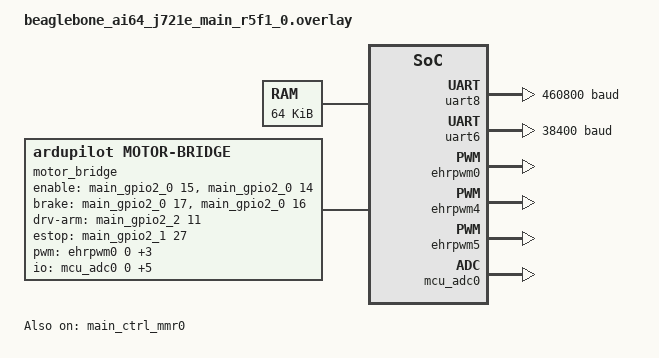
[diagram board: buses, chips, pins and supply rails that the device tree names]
#include <zephyr/dt-bindings/gpio/gpio.h>
#include <zephyr/dt-bindings/adc/adc.h>
#include <zephyr/dt-bindings/pwm/pwm.h>

/*
 * BeagleBone AI-64, ArduPilot on MAIN R5FSS1 core0 (Zephyr 'ai64' branch,
 * lockstep) beside Linux + TI vision_apps (rebuilt without mcu3).
 *
 * Memory: TI's vision-apps overlay maps main_r5fss1_core0 to 0xa6000000
 * (+16 MB): dma 0xa6000000 1 MB (vrings, ipc shm), memory 0xa6100000 15 MB.
 * The MPU is TI's table (SoC early boot); its non-cacheable 2 MB IPC window
 * starts at chosen zephyr,ipc_shm (ddr0) and covers ipc shm, the resource
 * table and the RAM console (= remoteproc trace0).
 * DRAM (code, data, malloc heap): 8 MB at 0xa6800000. Milestone 1 fits; a
 * bigger carveout replaces ddr1 once it is in the Linux overlay.
 *
 * Serial ports:
 *   SERIAL0 = MAVLink2 over the RPMsg "rpmsg-tty" endpoint (/dev/ttyRPMSGn on
 *             Linux, module rpmsg_tty)
 *   SERIAL1 = UART8, P8_28 RX / P8_29 TX: ExpressLRS receiver in MAVLink mode
 *             (RC in RADIO_RC_CHANNELS + telemetry), 460800 baud
 *   SERIAL3 = UART6, P9_14 RX / P9_16 TX: u-blox GPS (the driver autobauds)
 * UART8/UART6 interrupts reach this core through R5FSS1_INTROUTER0 (routed by
 * the SoC code from ti,sci-ir-route, Zephyr 'ai64' branch); 48 MHz fck, the
 * ns16550 TI K3 code picks 13x/16x per baud (460800: 13x, +0.16 %).
 *
 * NOT UART4 on P9_37/P9_38: P9_33 and P9_35..P9_40 are the analog inputs
 * (MCU_ADC0, a 1.8 V domain), each shorted on the header to a 3.3 V digital
 * ball. They are analog-only and must never be muxed to a digital function.
 */
/ {
	chosen {
		zephyr,ram-console = &ramcon;
	};

	aliases {
		ardupilot-serial1 = &uart8;
		ardupilot-serial3 = &uart6;
	};

	ramcon: memory@a6180000 {
		compatible = "zephyr,memory-region", "mmio-sram";
		reg = <0xa6180000 DT_SIZE_K(64)>;
		zephyr,memory-region = "RAMCON";
	};
};

&ddr0 {
	reg = <0xa6000000 DT_SIZE_M(1)>;
};

&rsc_table {
	reg = <0xa6100000 DT_SIZE_K(512)>;
};

&ddr1 {
	reg = <0xa6800000 DT_SIZE_M(8)>;
};

&uart8 {
	/* with the analog-only header pins held Hi-Z (see the note above) */
	pinctrl-0 = <&uart8_default &analog_pins_hiz>;
	pinctrl-names = "default";
	current-speed = <460800>;
	status = "okay";
};

&uart6 {
	pinctrl-0 = <&uart6_default>;
	pinctrl-names = "default";
	current-speed = <38400>;
	status = "okay";
};

/*
 * Motor bridge (2x BTS7960, prototype pin table wc-hardware docs/pin-allocation.md), CONFIG_AP_HAL_ZEPHYR_MOTOR_BRIDGE:
 *   PWM_L_FWD EHRPWM0_A P8_19, PWM_L_REV EHRPWM0_B P8_13, PWM_R_FWD EHRPWM4_B P9_25, PWM_R_REV EHRPWM5_A P8_37
 *   GPIO2 (pads of GPIO0_n, VGPIO_SEL = GPIO2): EN_L P8_07 (15), EN_R P8_08 (14), BRAKE_L P8_09 (17, high =
 *   released), BRAKE_R P8_10 (16), DRV_ARM P8_14 (75, square wave into the dead-man monostable), ESTOP_SENSE
 *   P8_12 (59, high = e-stop open)
 *   MCU_ADC0 (1.8 V at the ball, the header is halved): IS_L_FWD AIN0 P9_39, IS_L_REV AIN1 P9_40, IS_R_FWD AIN4
 *   P9_33, IS_R_REV AIN5 P9_36, VMOT_SENSE AIN2 P9_37, VBAT_SENSE AIN6 P9_35 (both for the over-voltage gate; VBAT also for the battery monitor, later)
 *   Current scale: 11.6 mV/A at the ball (IBT-2 with 10k IS resistors; 6.3 mV/A with 1k): to be calibrated.
 *   Bus scale: 56 V per volt at the ball.
 */
&main_ctrl_mmr0 { status = "okay"; };
&ehrpwm0 { pinctrl-0 = <&ehrpwm0_default>; pinctrl-names = "default"; status = "okay"; };
&ehrpwm4 { pinctrl-0 = <&ehrpwm4_default>; pinctrl-names = "default"; status = "okay"; };
&ehrpwm5 { pinctrl-0 = <&ehrpwm5_default>; pinctrl-names = "default"; status = "okay"; };
&main_gpio2_0 { pinctrl-0 = <&motor_gpio_default>; pinctrl-names = "default"; status = "okay"; };
&main_gpio2_1 { status = "okay"; };
&main_gpio2_2 { status = "okay"; };

#define AI64_ADC_CH(n) channel@n { reg = <n>; zephyr,gain = "ADC_GAIN_1"; zephyr,reference = "ADC_REF_INTERNAL"; \
	zephyr,acquisition-time = <ADC_ACQ_TIME_DEFAULT>; zephyr,resolution = <12>; }

&mcu_adc0 {
	status = "okay";
	AI64_ADC_CH(0);
	AI64_ADC_CH(1);
	AI64_ADC_CH(2);
	AI64_ADC_CH(4);
	AI64_ADC_CH(5);
	AI64_ADC_CH(6);
};

/ {
	motor_bridge: motor-bridge {
		compatible = "ardupilot,motor-bridge";
		pwms = <&ehrpwm0 0 PWM_USEC(50) PWM_POLARITY_NORMAL>, <&ehrpwm0 1 PWM_USEC(50) PWM_POLARITY_NORMAL>,
		       <&ehrpwm4 1 PWM_USEC(50) PWM_POLARITY_NORMAL>, <&ehrpwm5 0 PWM_USEC(50) PWM_POLARITY_NORMAL>;
		enable-gpios = <&main_gpio2_0 15 GPIO_ACTIVE_HIGH>, <&main_gpio2_0 14 GPIO_ACTIVE_HIGH>;
		brake-gpios = <&main_gpio2_0 17 GPIO_ACTIVE_HIGH>, <&main_gpio2_0 16 GPIO_ACTIVE_HIGH>;
		drv-arm-gpios = <&main_gpio2_2 11 GPIO_ACTIVE_HIGH>;
		estop-gpios = <&main_gpio2_1 27 GPIO_ACTIVE_HIGH>;
		io-channels = <&mcu_adc0 0>, <&mcu_adc0 1>, <&mcu_adc0 4>, <&mcu_adc0 5>, <&mcu_adc0 2>, <&mcu_adc0 6>;
		servo-channels = <0 2>;
		is-ma-per-mv = <86207 86207 86207 86207>;
		vmot-mv-per-mv = <56>;
	};
};
